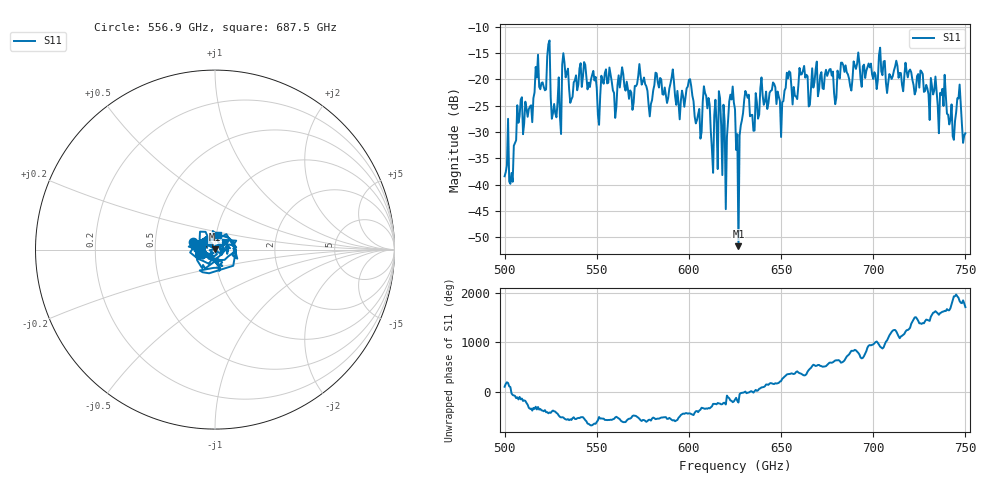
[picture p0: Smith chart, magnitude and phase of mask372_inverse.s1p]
!Created with skrf (http://scikit-rf.org).
# GHz S MA R 50.0
!freq magS11 angS11
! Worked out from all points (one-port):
!   401 points, 500 GHz to 750 GHz, reference 50 ohm
!   lowest |S11| = -51.7 dB at 626.9 GHz (marker M1), VSWR 1.01, Z = 49.8 + j0.121 ohm
!   |S11| at or under -10 dB: start of sweep to end of sweep
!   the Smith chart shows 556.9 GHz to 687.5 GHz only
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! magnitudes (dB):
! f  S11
! 500 GHz  -38.4
! 503.8 GHz  -37.8
! 508.1 GHz  -27.0
! 513.8 GHz  -25.2
! 517.5 GHz  -19.7
! 523.8 GHz  -13.3
! 526.9 GHz  -24.7
! 531.2 GHz  -17.2
! 562.5 GHz  -21.5
! 593.8 GHz  -22.2
! 600 GHz  -20.1
! 605.6 GHz  -25.6
! 609.4 GHz  -23.2
! 612.5 GHz  -33.4
! 617.5 GHz  -28.8
! 619.4 GHz  -28.0
! 622.5 GHz  -22.9
! 625 GHz  -25.7
! 626.9 GHz  -51.7
! 631.2 GHz  -22.8
! 634.4 GHz  -26.7
! 656.2 GHz  -24.8
! 687.5 GHz  -21.3
! 718.8 GHz  -19.6
! 738.1 GHz  -25.1
! 742.5 GHz  -24.8
! 746.2 GHz  -23.6
! 750 GHz  -30.2
